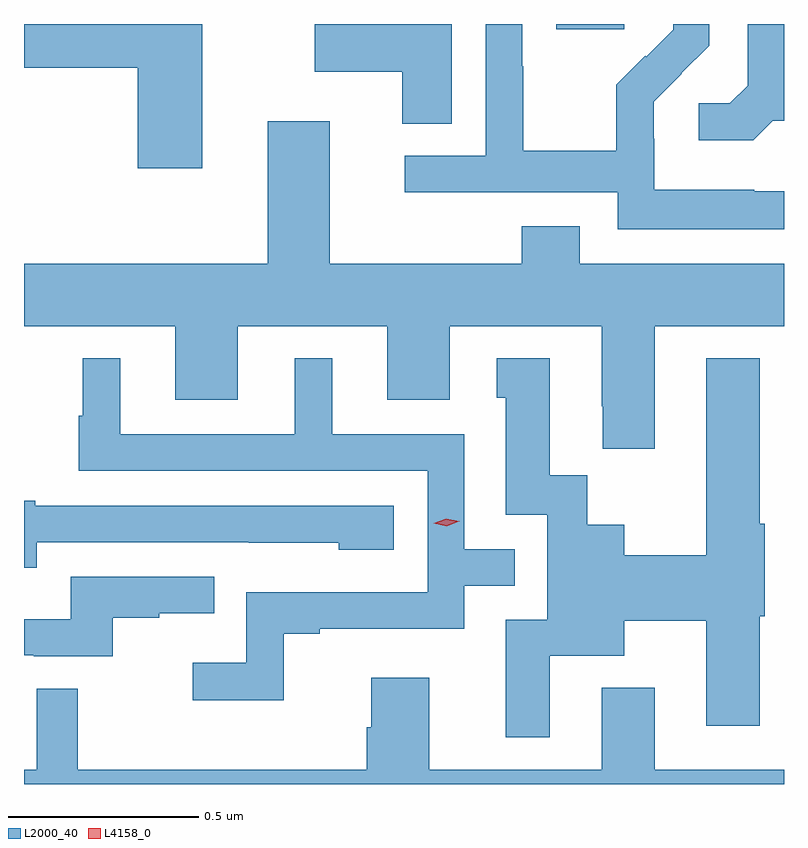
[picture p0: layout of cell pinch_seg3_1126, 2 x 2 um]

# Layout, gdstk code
import gdstk
lib = gdstk.Library(unit=1e-6, precision=1e-09)
def R(c, l, rs):  # rectangles x0, y0, x1, y1
    for r in rs: c.add(gdstk.rectangle(r[:2], r[2:], *l))
def P(c, l, *ps):  # polygons
    for p in ps: c.add(gdstk.Polygon(p, *l))
L2000_40 = (2000, 40)
L4158_0 = (4158, 0)

pinch_seg3_1126 = lib.new_cell('pinch_seg3_1126')
R(pinch_seg3_1126, L2000_40, [(381.551,675.057,381.73,675.071)])
P(pinch_seg3_1126, L2000_40, [(380.62,675.071),(380.151,675.071),(380.151,674.956),(380.45,674.956),(380.45,674.691),(380.62,674.691)],
  [(382.151,674.631),(382.073,674.631),(382.073,674.635),(381.81,674.635),(381.81,674.769),(381.808,674.769),(381.808,674.866),(381.882,674.94),(381.881,674.941),(381.954,675.014),(381.954,675.071),(381.86,675.071),(381.86,675.056),(381.789,674.985),(381.786,674.988),(381.709,674.911),(381.709,674.737),(381.465,674.737),(381.465,674.96),(381.462,674.96),(381.462,675.071),(381.366,675.071),(381.366,674.724),(381.153,674.724),(381.153,674.628),(381.714,674.628),(381.714,674.531),(382.151,674.531)],
  [(382.122,674.817),(382.151,674.817),(382.151,675.071),(382.055,675.071),(382.055,674.909),(382.008,674.862),(381.927,674.862),(381.927,674.765),(382.07,674.765)],
  [(381.277,675.071),(380.916,675.071),(380.916,674.945),(381.146,674.945),(381.146,674.809),(381.277,674.809)],
  [(381.811,674.276),(382.151,674.276),(382.151,674.44),(381.613,674.44),(381.613,674.539),(381.461,674.539),(381.461,674.44),(380.956,674.44),(380.956,674.815),(380.792,674.815),(380.792,674.44),(380.151,674.44),(380.151,674.276),(380.549,674.276),(380.549,674.082),(380.713,674.082),(380.713,674.276),(381.107,674.276),(381.107,674.082),(381.271,674.082),(381.271,674.276),(381.671,674.276),(381.671,674.065),(381.674,674.065),(381.674,673.953),(381.811,673.953)],
  [(380.835,673.467),(380.929,673.467),(380.929,673.479),(381.309,673.479),(381.309,673.593),(381.442,673.593),(381.442,673.689),(381.309,673.689),(381.309,673.992),(380.962,673.992),(380.962,674.191),(380.864,674.191),(380.864,673.992),(380.404,673.992),(380.404,674.191),(380.306,674.191),(380.306,674.04),(380.295,674.04),(380.295,673.896),(381.213,673.896),(381.213,673.575),(380.736,673.575),(380.736,673.39),(380.595,673.39),(380.595,673.292),(380.835,673.292)],
  [(381.535,673.409),(381.73,673.409),(381.73,673.501),(381.947,673.501),(381.947,673.224),(382.087,673.224),(382.087,673.512),(382.1,673.512),(382.1,673.756),(382.087,673.756),(382.087,674.191),(381.947,674.191),(381.947,673.673),(381.73,673.673),(381.73,673.753),(381.633,673.753),(381.633,673.883),(381.535,673.883),(381.535,674.191),(381.395,674.191),(381.395,674.088),(381.419,674.088),(381.419,673.779),(381.528,673.779),(381.528,673.503),(381.419,673.503),(381.419,673.194),(381.535,673.194)],
  [(380.185,673.707),(380.743,673.707),(380.743,673.706),(380.979,673.706),(380.979,673.688),(381.124,673.688),(381.124,673.803),(380.181,673.803),(380.181,673.816),(380.151,673.816),(380.151,673.64),(380.185,673.64)],
  [(380.384,673.509),(380.507,673.509),(380.507,673.52),(380.651,673.52),(380.651,673.617),(380.274,673.617),(380.274,673.505),(380.151,673.505),(380.151,673.41),(380.176,673.41),(380.176,673.407),(380.384,673.407)],
  [(382.151,673.108),(381.811,673.108),(381.811,673.324),(381.671,673.324),(381.671,673.108),(381.217,673.108),(381.217,673.351),(381.065,673.351),(381.065,673.221),(381.053,673.221),(381.053,673.108),(380.293,673.108),(380.293,673.322),(380.184,673.322),(380.184,673.108),(380.151,673.108),(380.151,673.071),(382.151,673.071)])
P(pinch_seg3_1126, L4158_0, [(381.264,673.749),(381.229,673.757),(381.229,673.757),(381.229,673.757),(381.262,673.769),(381.297,673.762),(381.298,673.762),(381.297,673.762)])

lib.write_gds('pinch_seg3_1126.gds')
